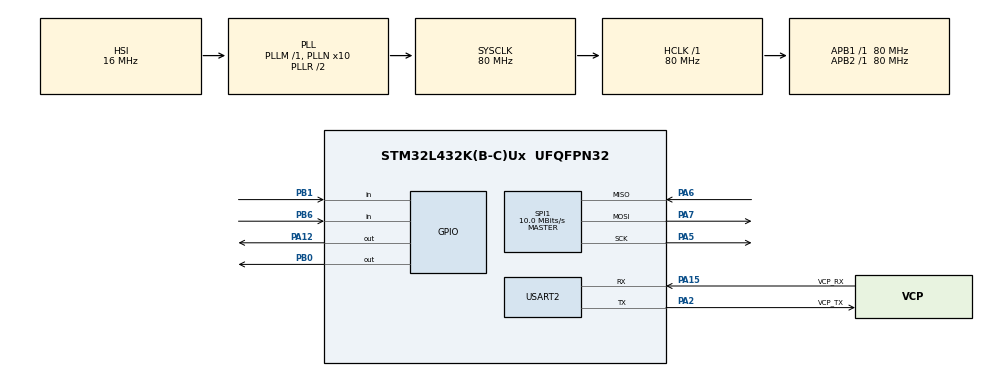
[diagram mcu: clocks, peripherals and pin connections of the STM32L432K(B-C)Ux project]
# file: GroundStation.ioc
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Mcu.Family=STM32L4
Mcu.Name=STM32L432K(B-C)Ux
Mcu.Package=UFQFPN32
NVIC.PriorityGroup=NVIC_PRIORITYGROUP_4
PA0.GPIO_Label=MCO [High speed clock in]
PA0.Mode=HSE-External-Clock-Source-for-LittleOrca
PA0.Signal=RCC_CK_IN
PA12.Signal=GPIO_Output
PA13\ (JTMS-SWDIO).GPIO_Label=SWDIO
PA13\ (JTMS-SWDIO).Mode=Trace_Asynchronous_SW
PA13\ (JTMS-SWDIO).Signal=SYS_JTMS-SWDIO
PA14\ (JTCK-SWCLK).GPIO_Label=SWCLK
PA14\ (JTCK-SWCLK).Mode=Trace_Asynchronous_SW
PA14\ (JTCK-SWCLK).Signal=SYS_JTCK-SWCLK
PA15\ (JTDI).GPIO_Label=VCP_RX
PA15\ (JTDI).Mode=Asynchronous
PA15\ (JTDI).Signal=USART2_RX
PA2.GPIO_Label=VCP_TX
PA2.Mode=Asynchronous
PA2.Signal=USART2_TX
PA3.Signal=S_TIM2_CH4
PA5.Mode=Full_Duplex_Master
PA5.Signal=SPI1_SCK
PA6.Mode=Full_Duplex_Master
PA6.Signal=SPI1_MISO
PA7.Mode=Full_Duplex_Master
PA7.Signal=SPI1_MOSI
PB0.Signal=GPIO_Output
PB1.Signal=GPIO_Input
PB3\ (JTDO-TRACESWO).Mode=Trace_Asynchronous_SW
PB3\ (JTDO-TRACESWO).Signal=SYS_JTDO-SWO
PB6.Signal=GPIO_Input
PC14-OSC32_IN\ (PC14).Mode=LSE-External-Oscillator
PC14-OSC32_IN\ (PC14).Signal=RCC_OSC32_IN
PC15-OSC32_OUT\ (PC15).Mode=LSE-External-Oscillator
PC15-OSC32_OUT\ (PC15).Signal=RCC_OSC32_OUT
ProjectManager.HeapSize=0x200
ProjectManager.StackSize=0x400
ProjectManager.TargetToolchain=STM32CubeIDE
RCC.ADCFreq_Value=64000000
RCC.AHBFreq_Value=80000000
RCC.APB1Freq_Value=80000000
RCC.APB1TimFreq_Value=80000000
RCC.APB2Freq_Value=80000000
RCC.APB2TimFreq_Value=80000000
RCC.CortexFreq_Value=80000000
RCC.HCLKFreq_Value=80000000
RCC.HSE_VALUE=8000000
RCC.HSI16_VALUE=16000000
RCC.HSI48_VALUE=48000000
RCC.HSI_VALUE=16000000
RCC.MSI_VALUE=4000000
RCC.PLLMUL=RCC_PLLMUL_4
RCC.PLLN=10
RCC.PLLSourceVirtual=RCC_PLLSOURCE_HSI
RCC.SYSCLKFreq_VALUE=80000000
RCC.SYSCLKSource=RCC_SYSCLKSOURCE_PLLCLK
RCC.USBFreq_Value=64000000
RCC.VCOOutputFreq_Value=160000000
SH.S_TIM2_CH4.0=TIM2_CH4
SPI1.BaudRatePrescaler=SPI_BAUDRATEPRESCALER_8
SPI1.CalculateBaudRate=10.0 MBits/s
SPI1.DataSize=SPI_DATASIZE_8BIT
SPI1.Direction=SPI_DIRECTION_2LINES
SPI1.Mode=SPI_MODE_MASTER
SPI1.VirtualType=VM_MASTER
TIM2.Prescaler=79
USART2.VirtualMode-Asynchronous=VM_ASYNC
VP_TIM2_VS_ClockSourceINT.Mode=Internal
board=NUCLEO-L432KC

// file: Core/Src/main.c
/* USER CODE BEGIN Header */
/**
  ******************************************************************************
  * @file           : main.c
  * @brief          : Main program body
  ******************************************************************************
  * @attention
  *
  * Copyright (c) 2026 STMicroelectronics.
  * All rights reserved.
  *
  * This software is licensed under terms that can be found in the LICENSE file
  * in the root directory of this software component.
  * If no LICENSE file comes with this software, it is provided AS-IS.
  *
  ******************************************************************************
  */
/* USER CODE END Header */
#include "main.h"

/* USER CODE BEGIN Includes */
#include <string.h>
#include <stdio.h>
#include "lmic.h"
#include "../../Middleware/ThirdParty/LMIC/hal/hal.h"
/* USER CODE END Includes */

/* USER CODE BEGIN PD */
#define LMIC_ENABLE_arbitrary_clock_error 1
/* USER CODE END PD */

SPI_HandleTypeDef hspi1;

TIM_HandleTypeDef htim2;

UART_HandleTypeDef huart2;

/* USER CODE BEGIN PV */
const unsigned HEARTBEAT_INTERVAL = 3500; // 1 Hour
static osjob_t sendjob;

const lmic_pinmap lmic_pins = {
    .nss = 0,
    .rxtx = LMIC_UNUSED_PIN,
    .rst = 0,
    .dio = {0, 0, LMIC_UNUSED_PIN},
};

/* --- Ground Station Identity --- */
void os_getArtEui (u1_t* buf) { memcpy(buf, "\x00\x00\x00\x00\x00\x00\x00\x00", 8); }
void os_getDevEui (u1_t* buf) { memcpy(buf, "\xb8\x16\x4e\x68\xa4\x42\x54\x7e", 8); }
void os_getDevKey (u1_t* buf) { memcpy(buf, "\xd1\xf6\x4f\xda\xef\x7d\xf2\xa8\xa4\x23\xc6\x35\x9a\x00\xcc\x2e", 16); } // Big Endian
uint32_t txrxpend_start_time = 0;
/* USER CODE END PV */

void SystemClock_Config(void);
static void MX_GPIO_Init(void);
static void MX_SPI1_Init(void);
static void MX_USART2_UART_Init(void);
static void MX_TIM2_Init(void);
/* USER CODE BEGIN PFP */
// #define PUTCHAR_PROTOTYPE int __io_putchar(int ch)
/* USER CODE END PFP */

/* USER CODE BEGIN 0 */

static osjob_t sendjob;

/* --- LoRaWAN Transmission & Event Logic --- */
// A simple function to send an empty "Heartbeat" to keep the routing alive
void do_send(osjob_t* j) {
    if (LMIC.opmode & OP_TXRXPEND) {

    } else {
        uint8_t dummy_payload[1] = {0x00};
        LMIC_setTxData2(1, dummy_payload, 1, 0);
    }
}

// Function to extract and print data from ChirpStack to the laptop
void process_downlink() {
	// Check if there is any data attached to the event
	if (LMIC.dataLen > 0) {

		// Verify the payload is a multiple of our 9-byte structure
		// Verify it's a valid 10-byte structure bundle
		if ((LMIC.dataLen % 10) == 0) {
			int num_trackers = LMIC.dataLen / 10;

			for (int i = 0; i < num_trackers; i++) {
				// Step size is now 10
				int offset = LMIC.dataBeg + (i * 10);

				// 1. Extract Tracker ID
				uint8_t tracker_id = LMIC.frame[offset];

				// 2. Extract Emergency Flag
				uint8_t emergency_flag = LMIC.frame[offset + 1];

				// 3. Extract Latitude (Shifted by 2)
				int32_t lat_int = (LMIC.frame[offset + 2] << 24) |
								  (LMIC.frame[offset + 3] << 16) |
								  (LMIC.frame[offset + 4] << 8) |
								  (LMIC.frame[offset + 5]);

				// 4. Extract Longitude (Shifted by 6)
				int32_t lon_int = (LMIC.frame[offset + 6] << 24) |
								  (LMIC.frame[offset + 7] << 16) |
								  (LMIC.frame[offset + 8] << 8) |
								  (LMIC.frame[offset + 9]);

				float lat = lat_int / 100000.0f;
				float lon = lon_int / 100000.0f;

				float snr = LMIC.snr / 4;
				float rssi = LMIC.rssi - 64;

				// 5. Transmit the CSV string over USB with the Emergency Status
				if (emergency_flag == 1) {
					printf("%d,%.6f,%.6f,%.2f,%.2f,EMERGENCY\n", tracker_id, lat, lon, snr, rssi);
				} else {
					printf("%d,%.6f,%.6f,%.2f,%.2f,NORMAL\n", tracker_id, lat, lon, snr, rssi);
				}
			}
		}
	}
}

void onEvent (ev_t ev) {
    switch(ev) {
        case EV_JOINING:
            break;

        case EV_JOINED:
            LMIC_setLinkCheckMode(0);
            LMIC_setAdrMode(0);
            // Enable Class C after successful join
            LMIC_enableClassC(1);

            // Kick off the 1-hour heartbeat cycle
            do_send(&sendjob);
            break;

        case EV_JOIN_FAILED:
            break;

        case EV_TXCOMPLETE:
            // In Class C, downlinks that arrive during a TX window trigger here
            process_downlink();

            // Schedule the next heartbeat (1 hour)
            os_setTimedCallback(&sendjob, os_getTime() + sec2osticks(HEARTBEAT_INTERVAL), do_send);
            break;
		case EV_RXCOMPLETE:
			// In Class C, asynchronous downlinks trigger this event
			process_downlink();
			break;

		default:
			break;
    }
}
/* USER CODE END 0 */

int main(void)
{

  /* MCU Configuration--------------------------------------------------------*/

  /* Reset of all peripherals, Initializes the Flash interface and the Systick. */
  HAL_Init();

  /* Configure the system clock */
  SystemClock_Config();

  /* Initialize all configured peripherals */
  MX_GPIO_Init();
  MX_SPI1_Init();
  MX_USART2_UART_Init();
  MX_TIM2_Init();
  /* USER CODE BEGIN 2 */
  os_init();
  LMIC_reset();
  LMIC_setClockError(MAX_CLOCK_ERROR * 5 / 100);
  do_send(&sendjob);
  /* USER CODE END 2 */

  /* Infinite loop */
  /* USER CODE BEGIN WHILE */
  while (1)
  {
    os_runloop_once();
	/*if ((HAL_GetTick() - last_ping_time) >= 60000) {
		printf("[DEBUG] Ground Station is alive. LMIC is ticking...\n");

		// Reset the timer
		last_ping_time = HAL_GetTick();
	}*/
    /*if (LMIC.opmode & OP_TXRXPEND) {

	  // If we just entered this state, record the start time
      if (txrxpend_start_time == 0) {
		  txrxpend_start_time = HAL_GetTick();
	  }

	  // 2. If it has been stuck for more than 10 seconds (10000 ms)
	  else if ((HAL_GetTick() - txrxpend_start_time) > 10000) {
		  printf("\n[WATCHDOG] LMIC Deadlock Detected (Opmode: %d). Forcing reset...\n", LMIC.opmode);

		  // Forcefully clear the stuck flag
		  LMIC.opmode &= ~OP_TXRXPEND;

		  // Reset our watchdog timer
		  txrxpend_start_time = 0;

		  // Manually fire the completion event so your code can resume sending heartbeats!
		  // (Or you can queue a fresh do_send job here)
		  printf("[WATCHDOG] State cleared. Resuming normal operations.\n");

		  // Optional: If you want to force the next heartbeat immediately:
		  //os_clearCallback(&sendjob);
		  //os_setCallback(&sendjob, do_send);
	  }
  } else {
	  // The flag cleared naturally, so reset our watchdog timer
	  txrxpend_start_time = 0;
  }*/
    /* USER CODE END WHILE */

  }
}

void SystemClock_Config(void)
{
  RCC_OscInitTypeDef RCC_OscInitStruct = {0};
  RCC_ClkInitTypeDef RCC_ClkInitStruct = {0};

  /** Configure the main internal regulator output voltage
  */
  if (HAL_PWREx_ControlVoltageScaling(PWR_REGULATOR_VOLTAGE_SCALE1) != HAL_OK)
  {
    Error_Handler();
  }

  /** Initializes the RCC Oscillators according to the specified parameters
  * in the RCC_OscInitTypeDef structure.
  */
  RCC_OscInitStruct.OscillatorType = RCC_OSCILLATORTYPE_HSI;
  RCC_OscInitStruct.HSIState = RCC_HSI_ON;
  RCC_OscInitStruct.HSICalibrationValue = RCC_HSICALIBRATION_DEFAULT;
  RCC_OscInitStruct.PLL.PLLState = RCC_PLL_ON;
  RCC_OscInitStruct.PLL.PLLSource = RCC_PLLSOURCE_HSI;
  RCC_OscInitStruct.PLL.PLLM = 1;
  RCC_OscInitStruct.PLL.PLLN = 10;
  RCC_OscInitStruct.PLL.PLLP = RCC_PLLP_DIV7;
  RCC_OscInitStruct.PLL.PLLQ = RCC_PLLQ_DIV2;
  RCC_OscInitStruct.PLL.PLLR = RCC_PLLR_DIV2;
  if (HAL_RCC_OscConfig(&RCC_OscInitStruct) != HAL_OK)
  {
    Error_Handler();
  }

  /** Initializes the CPU, AHB and APB buses clocks
  */
  RCC_ClkInitStruct.ClockType = RCC_CLOCKTYPE_HCLK|RCC_CLOCKTYPE_SYSCLK
                              |RCC_CLOCKTYPE_PCLK1|RCC_CLOCKTYPE_PCLK2;
  RCC_ClkInitStruct.SYSCLKSource = RCC_SYSCLKSOURCE_PLLCLK;
  RCC_ClkInitStruct.AHBCLKDivider = RCC_SYSCLK_DIV1;
  RCC_ClkInitStruct.APB1CLKDivider = RCC_HCLK_DIV1;
  RCC_ClkInitStruct.APB2CLKDivider = RCC_HCLK_DIV1;

  if (HAL_RCC_ClockConfig(&RCC_ClkInitStruct, FLASH_LATENCY_4) != HAL_OK)
  {
    Error_Handler();
  }
}

static void MX_SPI1_Init(void)
{

  /* SPI1 parameter configuration*/
  hspi1.Instance = SPI1;
  hspi1.Init.Mode = SPI_MODE_MASTER;
  hspi1.Init.Direction = SPI_DIRECTION_2LINES;
  hspi1.Init.DataSize = SPI_DATASIZE_8BIT;
  hspi1.Init.CLKPolarity = SPI_POLARITY_LOW;
  hspi1.Init.CLKPhase = SPI_PHASE_1EDGE;
  hspi1.Init.NSS = SPI_NSS_SOFT;
  hspi1.Init.BaudRatePrescaler = SPI_BAUDRATEPRESCALER_8;
  hspi1.Init.FirstBit = SPI_FIRSTBIT_MSB;
  hspi1.Init.TIMode = SPI_TIMODE_DISABLE;
  hspi1.Init.CRCCalculation = SPI_CRCCALCULATION_DISABLE;
  hspi1.Init.CRCPolynomial = 7;
  hspi1.Init.CRCLength = SPI_CRC_LENGTH_DATASIZE;
  hspi1.Init.NSSPMode = SPI_NSS_PULSE_ENABLE;
  if (HAL_SPI_Init(&hspi1) != HAL_OK)
  {
    Error_Handler();
  }

}

static void MX_TIM2_Init(void)
{

  TIM_ClockConfigTypeDef sClockSourceConfig = {0};
  TIM_MasterConfigTypeDef sMasterConfig = {0};

  htim2.Instance = TIM2;
  htim2.Init.Prescaler = 79;
  htim2.Init.CounterMode = TIM_COUNTERMODE_UP;
  htim2.Init.Period = 4294967295;
  htim2.Init.ClockDivision = TIM_CLOCKDIVISION_DIV1;
  htim2.Init.AutoReloadPreload = TIM_AUTORELOAD_PRELOAD_DISABLE;
  if (HAL_TIM_Base_Init(&htim2) != HAL_OK)
  {
    Error_Handler();
  }
  sClockSourceConfig.ClockSource = TIM_CLOCKSOURCE_INTERNAL;
  if (HAL_TIM_ConfigClockSource(&htim2, &sClockSourceConfig) != HAL_OK)
  {
    Error_Handler();
  }
  sMasterConfig.MasterOutputTrigger = TIM_TRGO_RESET;
  sMasterConfig.MasterSlaveMode = TIM_MASTERSLAVEMODE_DISABLE;
  if (HAL_TIMEx_MasterConfigSynchronization(&htim2, &sMasterConfig) != HAL_OK)
  {
    Error_Handler();
  }

}

static void MX_USART2_UART_Init(void)
{

  huart2.Instance = USART2;
  huart2.Init.BaudRate = 115200;
  huart2.Init.WordLength = UART_WORDLENGTH_8B;
  huart2.Init.StopBits = UART_STOPBITS_1;
  huart2.Init.Parity = UART_PARITY_NONE;
  huart2.Init.Mode = UART_MODE_TX_RX;
  huart2.Init.HwFlowCtl = UART_HWCONTROL_NONE;
  huart2.Init.OverSampling = UART_OVERSAMPLING_16;
  huart2.Init.OneBitSampling = UART_ONE_BIT_SAMPLE_DISABLE;
  huart2.AdvancedInit.AdvFeatureInit = UART_ADVFEATURE_NO_INIT;
  if (HAL_UART_Init(&huart2) != HAL_OK)
  {
    Error_Handler();
  }

}

static void MX_GPIO_Init(void)
{
  GPIO_InitTypeDef GPIO_InitStruct = {0};

  /* GPIO Ports Clock Enable */
  __HAL_RCC_GPIOC_CLK_ENABLE();
  __HAL_RCC_GPIOA_CLK_ENABLE();
  __HAL_RCC_GPIOB_CLK_ENABLE();

  /*Configure GPIO pin Output Level */
  HAL_GPIO_WritePin(GPIOB, GPIO_PIN_0, GPIO_PIN_RESET);

  /*Configure GPIO pin Output Level */
  HAL_GPIO_WritePin(GPIOA, GPIO_PIN_12, GPIO_PIN_RESET);

  /*Configure GPIO pin : PB0 */
  GPIO_InitStruct.Pin = GPIO_PIN_0;
  GPIO_InitStruct.Mode = GPIO_MODE_OUTPUT_PP;
  GPIO_InitStruct.Pull = GPIO_NOPULL;
  GPIO_InitStruct.Speed = GPIO_SPEED_FREQ_LOW;
  HAL_GPIO_Init(GPIOB, &GPIO_InitStruct);

  /*Configure GPIO pins : PB1 PB6 */
  GPIO_InitStruct.Pin = GPIO_PIN_1|GPIO_PIN_6;
  GPIO_InitStruct.Mode = GPIO_MODE_INPUT;
  GPIO_InitStruct.Pull = GPIO_NOPULL;
  HAL_GPIO_Init(GPIOB, &GPIO_InitStruct);

  /*Configure GPIO pin : PA12 */
  GPIO_InitStruct.Pin = GPIO_PIN_12;
  GPIO_InitStruct.Mode = GPIO_MODE_OUTPUT_PP;
  GPIO_InitStruct.Pull = GPIO_NOPULL;
  GPIO_InitStruct.Speed = GPIO_SPEED_FREQ_LOW;
  HAL_GPIO_Init(GPIOA, &GPIO_InitStruct);

}

/* USER CODE BEGIN 4 */
int __io_putchar(int ch)
{
// Support printf over UART
	HAL_UART_Transmit(&huart2, (uint8_t *) &ch, 1, 0xFFFF);
	//ITM_SendChar(ch);
	return ch;
}
/* USER CODE END 4 */

void Error_Handler(void)
{
  __disable_irq();
  while (1)
  {
  }
}
